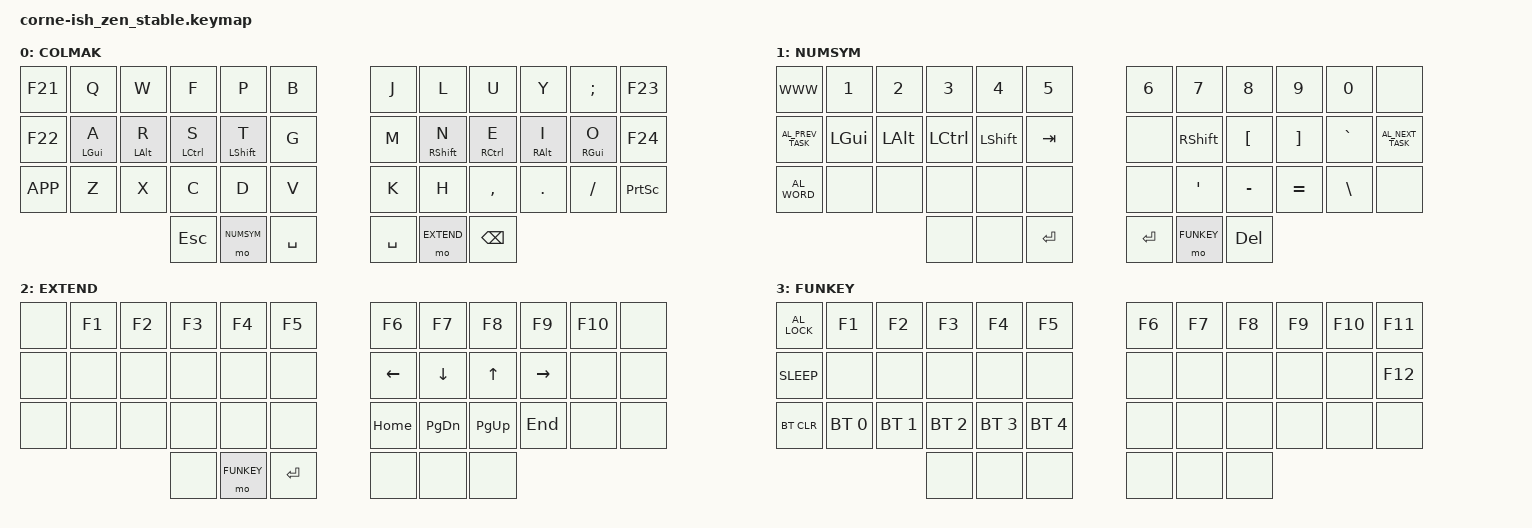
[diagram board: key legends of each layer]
/*
*
* Copyright (c) 2021 lowprokb.ca
* SPDX-License-Identifier: MIT
*
*/

#include <behaviors.dtsi>
#include <dt-bindings/zmk/keys.h>
#include <dt-bindings/zmk/bt.h>

#define COLMAK 0
#define NUMSYM 1
#define EXTEND 2
#define FUNKEY 3
#define COMBO(NAME, KEYPOS, SEQ) \
  combo_##NAME { \
      timeout-ms = <50>; \
      key-positions = <KEYPOS>; \
      bindings = <SEQ>; \
  };
#define MACRO(NAME, SEQ) \
  ZMK_MACRO(NAME, \
    wait-ms = <20>; \
    tap-ms = <20>; \
    bindings = <SEQ>; \
  )

// future macropad ideas:
// - emacs-everywhere
// - copy/paste
// - open terminal?
// - org-capture from anywhere?
// - open org-agenda?

/ {
    behaviors {
        hm: homerow_mods {
            compatible = "zmk,behavior-hold-tap";
            label = "HOMEROW_MODS";
            #binding-cells = <2>;
            tapping-term-ms = <200>;
            quick_tap_ms = <0>;
            flavor = "tap-preferred";
            bindings = <&kp>, <&kp>;
        };
    };
    // proof-of-concept chords
    // macros {
    //     MACRO(zettelkasten, &kp Z &kp E &kp T &kp T &kp E &kp L &kp K &kp A &kp S &kp T &kp E &kp N)
    //     MACRO(marginal    , &kp M &kp A &kp R &kp G &kp I &kp N &kp A &kp L)
    //     MACRO(collapsed   , &kp C &kp O &kp L &kp L &kp A &kp P &kp S &kp E &kp D)
    //     MACRO(manager     , &kp M &kp A &kp N &kp A &kp G &kp E &kp R)
    //     MACRO(thread      , &kp T &kp H &kp R &kp E &kp A &kp D)
    // };
    // combos {
    //     compatible = "zmk,combos";
    //     COMBO(ctrl_r  ,       37 14, &kp LC(R))      // ctrl-r substitution because of home-row-mods
    //
    //     // chording
    //     COMBO(marg    , 18 13 14 17, &marginal)      // marg -> marginal
    //     COMBO(col     ,    27 22  7, &collapsed)     // col  -> collapsed
    //     COMBO(mgr     ,    18 17 14, &manager)       // mgr  -> manager
    //     COMBO(thd     ,    16 31 28, &thread)        // thd -> thread
    //     COMBO(zet     ,    25 20 16, &zettelkasten)  // zet -> zettelkasten
    // };
    keymap {
        compatible = "zmk,keymap";
        default_layer {
            label = "COLMAK";
            bindings = <
   //      0          1          2           3            4      5            6              7           8          9         10         11
   &kp   F21 &kp      Q &kp      W &kp       F &kp        P  &kp B        &kp J   &kp        L &kp       U &kp      Y &kp   SEMI  &kp   F23
   //     12         13         14          15           16     17           18             19          20         21         22         23
   &kp   F22 &hm LGUI A &hm LALT R &hm LCTRL S &hm LSHIFT T  &kp G        &kp M   &hm RSHIFT N &hm RCTRL E &hm RALT I &hm RGUI O  &kp   F24
   //     24         25         26          27           28     29           30             31          32         33         34         35
   &kp K_APP &kp      Z &kp      X &kp       C &kp        D  &kp V        &kp K   &kp        H &kp    CMMA &kp    DOT &kp   FSLH  &kp PSCRN
                                //   36            37         38           39         40            41
                                &kp ESC    &mo NUMSYM    &kp SPC      &kp SPC &mo EXTEND   &kp    BSPC
            >;
        };

        numsym_layer {
            label = "NUMSYM";
            bindings = <
   &kp K_WWW          &kp   N1 &kp   N2 &kp    N3 &kp     N4 &kp N5       &kp N6  &kp N7     &kp N8    &kp N9    &kp N0    &none
   &kp C_AL_PREV_TASK &kp LGUI &kp LALT &kp LCTRL &kp LSHIFT &kp TAB      &none   &kp RSHIFT &kp LBKT  &kp RBKT  &kp GRAVE &kp C_AL_NEXT_TASK
   &kp C_AL_WORD      &none    &none    &none     &none      &none        &none   &kp SQT    &kp MINUS &kp EQUAL &kp BSLH  &none
                           &none     &none      &kp RET      &kp RET &mo FUNKEY &kp DEL
            >;
        };

        extended_layer {
            label = "EXTEND";
            bindings = <
   &none  &kp F1 &kp F2 &kp F3 &kp F4     &kp F5        &kp F6   &kp F7    &kp F8    &kp F9    &kp F10 &none
   &none  &none  &none  &none  &none      &none         &kp LEFT &kp DOWN  &kp UP    &kp RIGHT &none   &none
   &none  &none  &none  &none  &none      &none         &kp HOME &kp PG_DN &kp PG_UP &kp END   &none   &none
                        &none  &mo FUNKEY &kp RET       &none  &none  &none
            >;
        };

        function_layer {
            label = "FUNKEY";
            bindings = <
   &kp C_AL_LOCK  &kp F1       &kp F2       &kp F3       &kp F4       &kp F5        &kp F6 &kp F7 &kp F8 &kp F9 &kp F10 &kp F11
   &kp K_SLEEP    &none        &none        &none        &none        &none         &none  &none  &none  &none  &none   &kp F12
   &bt BT_CLR     &bt BT_SEL 0 &bt BT_SEL 1 &bt BT_SEL 2 &bt BT_SEL 3 &bt BT_SEL 4  &none  &none  &none  &none  &none   &none
                        &none        &none    &none     &none  &none  &none
            >;
        };
    };
};
